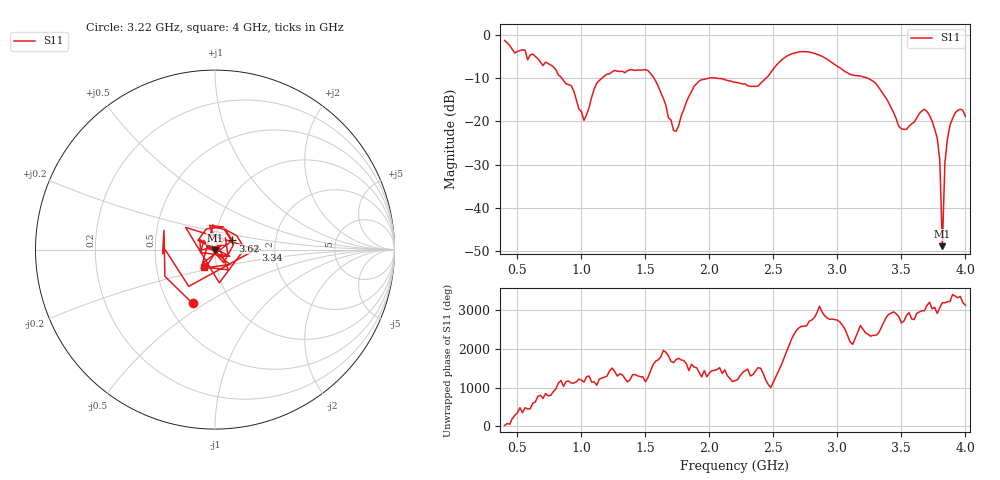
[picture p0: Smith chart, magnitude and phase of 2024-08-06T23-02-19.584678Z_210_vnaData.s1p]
!Created with skrf (http://scikit-rf.org).
# Hz S RI R 50.0
!freq ReS11 ImS11
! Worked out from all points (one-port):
!   181 points, 400 MHz to 4 GHz, reference 50 ohm
!   lowest |S11| = -49.0 dB at 3.82 GHz (marker M1), VSWR 1.01, Z = 50.2 - j0.306 ohm
!   |S11| at or under -10 dB: 1.568 GHz to 1.989 GHz (421.4 MHz wide, 23.7 % of centre); 2.06 GHz to 2.441 GHz (381.6 MHz wide, 17 % of centre); 3.24 GHz to end of sweep (the widest 3 of 4)
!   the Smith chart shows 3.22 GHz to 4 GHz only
!   S11 on the Smith chart (normalised r, x): 3.22 GHz: 0.66, -0.44; 3.34 GHz: 1.59, +0.00; 3.62 GHz: 1.21, +0.13; 4 GHz: 0.87, -0.17
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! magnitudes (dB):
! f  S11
! 400 MHz  -1.2
! 860 MHz  -10.5
! 920 MHz  -11.7
! 1.02 GHz  -19.7
! 1.12 GHz  -11.1
! 1.3 GHz  -8.4
! 1.52 GHz  -8.2
! 1.6 GHz  -11.8
! 1.72 GHz  -22.1
! 1.76 GHz  -21.0
! 1.92 GHz  -10.6
! 2.2 GHz  -10.9
! 2.38 GHz  -11.8
! 2.66 GHz  -4.1
! 3.1 GHz  -9.1
! 3.22 GHz  -9.8
! 3.34 GHz  -12.8
! 3.48 GHz  -21.1
! 3.56 GHz  -21.1
! 3.62 GHz  -19.2
! 3.7 GHz  -17.7
! 3.78 GHz  -23.9
! 3.8 GHz  -29.0
! 3.82 GHz  -49.0
! 3.84 GHz  -29.5
! 3.86 GHz  -24.0
! 3.92 GHz  -18.0
! 4 GHz  -18.8
